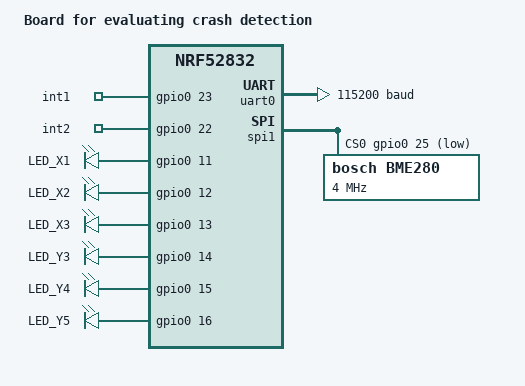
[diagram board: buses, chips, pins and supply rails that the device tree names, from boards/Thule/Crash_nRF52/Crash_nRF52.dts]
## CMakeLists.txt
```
cmake_minimum_required(VERSION 3.20.0)
find_package(Zephyr REQUIRED HINTS $ENV{ZEPHYR_BASE})

project(Crash_detect)

target_sources(app PRIVATE 
  src/main.c
  src/acc.c
  src/spi.c
  src/uart.c
)
```

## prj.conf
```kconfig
CONFIG_GPIO=y
CONFIG_CLOCK_CONTROL_NRF_K32SRC_RC=y
CONFIG_SYSTEM_WORKQUEUE_STACK_SIZE=2048
CONFIG_MAIN_STACK_SIZE=2048
CONFIG_SPI=y
#CONFIG_SPI_NRFX=y
CONFIG_SERIAL=y
CONFIG_UART_ASYNC_API=y
```

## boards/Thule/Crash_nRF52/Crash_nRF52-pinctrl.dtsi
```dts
&pinctrl {
    compatible = "nordic,nrf-pinctrl";
	spi1_default: spi1_default {
		group1 {
			psels = <NRF_PSEL(SPIM_SCK, 0, 27)>,
					<NRF_PSEL(SPIM_MOSI, 0, 26)>,
					<NRF_PSEL(SPIM_MISO, 0, 28)>;
		};
	};
	spi1_sleep: spi1_sleep {
        group1 {
			psels = <NRF_PSEL(SPIM_SCK, 0, 27)>,
					<NRF_PSEL(SPIM_MOSI, 0, 26)>,
					<NRF_PSEL(SPIM_MISO, 0, 28)>;
			low-power-enable;
		};
	};
	uart0_default: uart0_default {
		group1 {
			psels = <NRF_PSEL(UART_RX, 0, 7)>,
					<NRF_PSEL(UART_TX, 0, 6)>;
		};
	};
	uart0_sleep: uart0_sleep {
		group1 {
			psels = <NRF_PSEL(UART_RX, 0, 7)>,
					<NRF_PSEL(UART_TX, 0, 6)>;
			low-power-enable;
		};
	};

};
```

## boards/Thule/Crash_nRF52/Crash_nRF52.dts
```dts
/dts-v1/;
#include <nordic/nrf52832_qfaa.dtsi>
#include "Crash_nRF52-pinctrl.dtsi"

/ {
	model = "Board for evaluating crash detection";
	compatible = "Thule,Crash-nRF52";

	chosen {
		zephyr,sram = &sram0;
		zephyr,flash = &flash0;
		zephyr,code-partition = &slot0_partition;
	};

	digin
	{
		compatible = "gpio-keys";
		digin1: digin_1 {
			gpios = <&gpio0 23 GPIO_PULL_DOWN>;
			label = "int1";
		};
		digin2: digin_2 {
			gpios = <&gpio0 22 GPIO_PULL_DOWN>;
			label = "int2";
		};
	};
	leds 
	{
		compatible = "gpio-leds";
		led0: led_0 {
			gpios = <&gpio0 11 GPIO_ACTIVE_HIGH>;
			label = "LED_X1";
		};
		led1: led_1 {
			gpios = <&gpio0 12 GPIO_ACTIVE_HIGH>;
			label = "LED_X2";
		};
		led2: led_2 {
			gpios = <&gpio0 13 GPIO_ACTIVE_HIGH>;
			label = "LED_X3";
		};
		led3: led_3 {
			gpios = <&gpio0 14 GPIO_ACTIVE_HIGH>;
			label = "LED_Y3";
		};
		led4: led_4 {
			gpios = <&gpio0 15 GPIO_ACTIVE_HIGH>;
			label = "LED_Y4";
		};
		led5: led_5 {
			gpios = <&gpio0 16 GPIO_ACTIVE_HIGH>;
			label = "LED_Y5";
		};
	};
	aliases 
	{
		led0 = &led0;
		led1 = &led1;
		led2 = &led2;
		led3 = &led3;
		led4 = &led4;
		led5 = &led5;
		digin1 = &digin1;
		digin2 = &digin2;
	};

};

&uart0 {
	status = "okay";
	pinctrl-0 = <&uart0_default>;
    pinctrl-1 = <&uart0_sleep>;
	pinctrl-names = "default" , "sleep";
	current-speed = <115200>;
};

&spi1 {
	status = "okay";
	compatible = "nordic,nrf-spi";
	pinctrl-0 = <&spi1_default>;
	pinctrl-1 = <&spi1_sleep>;
	pinctrl-names = "default" , "sleep";
	cs-gpios = <&gpio0 25 GPIO_ACTIVE_LOW>;
	bme280: bme280@0 
	{
		compatible = "bosch,bme280";
		reg = <0>;
		spi-max-frequency = <4000000>; 	
	};
};

&gpiote0 {
	status = "okay";
};


&gpio0 {
	status = "okay";
};

&flash0 {
	partitions {
		compatible = "fixed-partitions";
		#address-cells = <1>;
		#size-cells = <1>;

		boot_partition: partition@0 {
			label = "mcuboot";
			reg = <0x00000000 DT_SIZE_K(48)>;
		};

		slot0_partition: partition@c000 {
			label = "image-0";
			reg = <0x0000c000 DT_SIZE_K(220)>;
		};

		slot1_partition: partition@43000 {
			label = "image-1";
			reg = <0x00043000 DT_SIZE_K(220)>;
		};

		storage_partition: partition@7a000 {
			label = "storage";
			reg = <0x0007a000 DT_SIZE_K(24)>;
		};
	};
};
```

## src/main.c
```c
#include <zephyr/kernel.h>
#include <zephyr/drivers/spi.h>
#include <zephyr/drivers/gpio.h>
#include <zephyr/device.h>
#include <zephyr/devicetree.h>
#include <zephyr/drivers/uart.h>
#include <stdio.h>
#include <stdlib.h>
#include <stdbool.h>
#include "acc_spi.h"
#include "acc.h"
#include "uart.h"

#define LED_NODE_1 DT_ALIAS(led3)
#define LED_NODE_2 DT_ALIAS(led4)
#define LED_NODE_3 DT_ALIAS(led5)
#define LED_NODE_4 DT_ALIAS(led0)
#define LED_NODE_5 DT_ALIAS(led1)
#define LED_NODE_6 DT_ALIAS(led2)
#define INT_1_NODE DT_ALIAS(digin1)
#define INT_2_NODE DT_ALIAS(digin2)

static const struct gpio_dt_spec s_led_1 = GPIO_DT_SPEC_GET(LED_NODE_1, gpios);
static const struct gpio_dt_spec s_led_2 = GPIO_DT_SPEC_GET(LED_NODE_2, gpios);
static const struct gpio_dt_spec s_led_3 = GPIO_DT_SPEC_GET(LED_NODE_3, gpios);
static const struct gpio_dt_spec s_led_4 = GPIO_DT_SPEC_GET(LED_NODE_4, gpios);
static const struct gpio_dt_spec s_led_5 = GPIO_DT_SPEC_GET(LED_NODE_5, gpios);
static const struct gpio_dt_spec s_led_6 = GPIO_DT_SPEC_GET(LED_NODE_6, gpios);
static const struct gpio_dt_spec fifo_overrun_int = GPIO_DT_SPEC_GET(INT_1_NODE, gpios);
static const struct gpio_dt_spec force_int = GPIO_DT_SPEC_GET(INT_2_NODE, gpios);
static struct gpio_callback s_sensor_cb_data;
static struct gpio_callback s_sensor2_cb_data;

static const struct gpio_dt_spec *led_ptrs[] = {
    &s_led_1, &s_led_2, &s_led_3, &s_led_4, &s_led_5, &s_led_6
};

enum accelerometer_state {
  SLEEP_STATE, ACTIVE_STATE, CRASH_STATE
};

volatile bool g_state_changed = false;
volatile bool g_read_fifo = false;
volatile bool g_abort_detection = false;
uint8_t g_old_acc = 0;
uint8_t g_fifo_counter = 0;

enum accelerometer_state g_current_state = SLEEP_STATE;

/* ***** */
static void timer_expiry(struct k_timer *timer);
void start_1min_timer(void);
static void fifo_interrupt(const struct device *dev, struct gpio_callback *cb, uint32_t pins);
static void force_interrupt(const struct device *dev, struct gpio_callback *cb, uint32_t pins);
static void crash_confirmed(void);
static void fifo_drain(void);

/* ***** */

K_TIMER_DEFINE(countdown_timer, timer_expiry, NULL);

static void timer_expiry(struct k_timer *timer)
{
    g_current_state =  SLEEP_STATE;
    g_state_changed = true;
}

void start_1min_timer(void)
{
    k_timer_start(&countdown_timer,
                  K_SECONDS(60),
                  K_NO_WAIT);
}

static void fifo_interrupt(const struct device *dev, struct gpio_callback *cb, uint32_t pins)
{
  g_read_fifo = true;
}

static void force_interrupt(const struct device *dev, struct gpio_callback *cb, uint32_t pins)
{
  if (g_current_state == SLEEP_STATE)
  {
    g_current_state = ACTIVE_STATE;
    g_state_changed = true;
  } 
  else if (g_current_state == ACTIVE_STATE)
  {
    g_current_state = CRASH_STATE;
    g_state_changed = true;
    g_abort_detection = false;
  }
}

static void crash_confirmed(void)
{
  g_abort_detection = true;
  g_fifo_counter = 0;

  for (int i=0;i<10;i++)
  {
    gpio_pin_toggle_dt(led_ptrs[0]);
    gpio_pin_toggle_dt(led_ptrs[1]);
    gpio_pin_toggle_dt(led_ptrs[2]);
    gpio_pin_toggle_dt(led_ptrs[3]);
    gpio_pin_toggle_dt(led_ptrs[4]);
    gpio_pin_toggle_dt(led_ptrs[5]);
    k_msleep(200);
  }
  g_current_state = ACTIVE_STATE;
  g_state_changed = true;
}

static void fifo_drain(void)
{
  int8_t acc = 0;
  while (!(read_acc_reg(0x2f) & 0x20) && !g_abort_detection)
  {
    acc = (int8_t)read_acc_reg(0x29);
    if (g_fifo_counter > 0)
    {
      if ((acc < 0) != (g_old_acc < 0))
      {
        g_abort_detection = true;
        g_fifo_counter = 0;
        set_acc_active_state();
        g_current_state = ACTIVE_STATE;
      }
    }
    if (abs(acc) < 15)
    {
      g_abort_detection = true;
      g_fifo_counter = 0;
      set_acc_active_state();
      g_current_state = ACTIVE_STATE;
    }
    g_old_acc = acc;
    if (!g_abort_detection)
    {  
      g_fifo_counter++;
      if (g_fifo_counter >= 200)
      {
        crash_confirmed();
      }
    }
  }
}


int main(void)
{
  //uart_init();
  gpio_pin_configure_dt(&s_led_1, GPIO_OUTPUT_INACTIVE);
  gpio_pin_configure_dt(&s_led_2, GPIO_OUTPUT_INACTIVE);
  gpio_pin_configure_dt(&s_led_3, GPIO_OUTPUT_INACTIVE);
  gpio_pin_configure_dt(&s_led_4, GPIO_OUTPUT_INACTIVE);
  gpio_pin_configure_dt(&s_led_5, GPIO_OUTPUT_INACTIVE);
  gpio_pin_configure_dt(&s_led_6, GPIO_OUTPUT_INACTIVE);
  gpio_pin_configure_dt(&fifo_overrun_int, GPIO_INPUT);
  gpio_pin_configure_dt(&force_int, GPIO_INPUT);
  gpio_pin_interrupt_configure_dt(&fifo_overrun_int, GPIO_INT_EDGE_RISING);
  gpio_pin_interrupt_configure_dt(&force_int, GPIO_INT_EDGE_RISING);
  gpio_init_callback(&s_sensor_cb_data, fifo_interrupt, (BIT(fifo_overrun_int.pin)));
  gpio_add_callback(fifo_overrun_int.port, &s_sensor_cb_data);
  gpio_init_callback(&s_sensor2_cb_data, force_interrupt, (BIT(force_int.pin)));
  gpio_add_callback(force_int.port, &s_sensor2_cb_data);
  init_spi0();
  k_msleep(1);
  if(read_acc_reg(0x0f) == 0x33)  // Read chip ID to confirm SPI function
  {
    gpio_pin_set_dt(led_ptrs[5],1);
    k_msleep(500);
    gpio_pin_set_dt(led_ptrs[5],0);
  }
  g_current_state = SLEEP_STATE;
  g_state_changed = true;
 
  k_msleep(1);

  while(1)
  {
    while (g_current_state == SLEEP_STATE)
    {
      if (g_state_changed)
      {
        g_state_changed = false;
        read_acc_reg(0x35);
        set_acc_sleep_state();
      }
      k_msleep(1000); // Demonstrate the application in sleep state.
      gpio_pin_toggle_dt(led_ptrs[0]);
    }
    
    if(g_current_state == CRASH_STATE)   // if the fifo has filled to the water mark, read the fifo until empty
    {
      if (g_state_changed)
      {
        g_state_changed = false;
        set_acc_crash_state(); // if a high G event happended, start high speed logging
      }
      fifo_drain();   
    }

    if(g_current_state == ACTIVE_STATE)
    {
      if (g_state_changed)
      {
        g_state_changed = false;
        read_acc_reg(0x35);
        start_1min_timer();
        set_acc_active_state(); 
      }
      k_msleep(300); // Demonstrate the application in sleep state.
      gpio_pin_toggle_dt(led_ptrs[1]);
      // Do normal stuff
    }
  }
  return 0;
}
```

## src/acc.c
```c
#include <zephyr/kernel.h>
#include <zephyr/device.h>
#include <zephyr/devicetree.h>
#include <zephyr/drivers/gpio.h>
#include "acc.h"
#include "acc_spi.h"

int set_acc_sleep_state(void) // Low power setup for wake up on any movement.
{
  int err = 0;
  err = write_acc_spi(CTRL_REG1, (ODR10HZ | 0x0f));	// 10Hz sample rate, all axises enables
  if (err != 0)
  {
    return err;
  }
  err = write_acc_spi(CTRL_REG2, 0x02);	// Enable HP filter for interrupt 2. Cut off freq. = 0.2 Hz
  if (err != 0)
  {
	  return err;
  }
  err = write_acc_spi(CTRL_REG6, (0x20));	// enable interrupt on int2 pin
  if (err != 0)
  {
	  return err;
  }
  err = write_acc_spi(CTRL_REG4, (0x00 | RANGE_2G));	// set range to +-2g
  if (err != 0)
  {
	  return err;
  }
  err = write_acc_spi(CTRL_REG5, (0x02)); // enable latch interrupt. Clear interrupt by reading INT2_SRC
  if (err != 0)
  {
	  return err;
  }
  k_msleep(1);
  err = write_acc_spi(INT2_TH, 0x0f);		// g-force interrupt threshold 0.24g
  if (err != 0)
  {
	  return err;
  }
  err = write_acc_spi(INT2_CFG, 0x2A);	        // Enable interrupt on high acc. on X, Y and Z.
  if (err != 0)
  {
	  return err;
  }
  err = read_acc_reg(REFERENCE);
  if (err != 0)
  {
	  return err;
  }
  return 0;
  
}


/* Active state. Set enough sample rate to detect a crash in time (100HZ)
and enable an interrupt that trigger on a force bigger than <tbd> G */

int set_acc_active_state(void)
{
  int err = 0;
  err = write_acc_spi(CTRL_REG1, (ODR100HZ | 0x09));	// 100Hz sample rate, X axis enabled
  if (err != 0)
  {
  return err;
  }
  k_msleep(1);
  
  err = write_acc_spi(CTRL_REG6, (0x20));	// enable force interrupt on int 2 pin
  if (err != 0)
  {
	return err;
  }
  err = write_acc_spi(CTRL_REG3, (0x00));	// disable interrupts on int 1 pin
  err = write_acc_spi(INT2_CFG, (0x02));	// enable force interrupt on pin 2 for both axises of X.
  if (err != 0)
  {
	return err;
  }
  k_msleep(1);
  err = write_acc_spi(CTRL_REG4, (0x00 | RANGE_8G));	// set range to +-8g for initial "spin test"
  if (err != 0)
  {
	return err;
  }
  err = write_acc_spi(INT2_TH, (0x2F));	// set threshold to 4G.
  if (err != 0)
  {
	return err;
  }
  k_msleep(1);
  err = write_acc_spi(CTRL_REG5, (0x48)); // Fifo enable
  if (err != 0)
  {
	return err;
  }
  k_msleep(1);
  err = write_acc_spi(FIFO_CTRL_REG, 0x80);		// fifo stream mode
  if (err != 0)
  {
  	return err;
  }
  k_msleep(1);    
  read_acc_reg(FIFO_SRC_REG);
  return 0;
}

/* If a crash occur, set a high sample rate (5376 Hz) and enable water mark interrupt 
to make sure to capture all samples */

int set_acc_crash_state(void)
{
  int err = 0;
  err = write_acc_spi(CTRL_REG6, (0x00));	// disable force interrupt on int 2 pin
  if (err != 0)
  {
	return err;
  }
   err = write_acc_spi(CTRL_REG3, (0x04));	// enable water mark interrupt on int 1 pin
  if (err != 0)
  {
	  return err;
  }
  err = write_acc_spi(FIFO_CTRL_REG, 0x8F);		// fifo stream mode and set watermark level to 15 samples
  if (err != 0)
  {
  	return err;
  }
  err = write_acc_spi(CTRL_REG1, (ODR5376HZ | 0x09));	// 5376Hz sample rate, X axis enabled
  if (err != 0)
  {
    return err;
  }
  return 0;
 }
```

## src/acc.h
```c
#ifndef ACC_H
#define ACC_H

#define WHO_AM_I 0x0f
#define CTRL_REG1 0x20
#define CTRL_REG2 0x21
#define CTRL_REG3 0x22
#define CTRL_REG4 0x23
#define CTRL_REG5 0x24
#define CTRL_REG6 0x25
#define STATUS_REG 0x27
#define FIFO_CTRL_REG 0x2e
#define FIFO_SRC_REG 0x2F
#define REFERENCE 0x26
#define X_OUT_L 0x28
#define X_OUT_H 0x29
#define Y_OUT_L 0x2A
#define Y_OUT_H 0x2B
#define Z_OUT_L 0x2C
#define Z_OUT_H 0x2D
#define INT1_DURATION 0x33
#define ODR5376HZ 0x09<<4
#define ODR200HZ 0x06<<4
#define ODR100HZ 0x05<<4
#define ODR50HZ 0x04<<4
#define ODR25HZ 0x03<<4
#define ODR10HZ 0x02<<4
#define ODR1HZ 0x01<<4
#define RANGE_2G 0x00<<4
#define RANGE_4G 0x01<<4
#define RANGE_8G 0x02<<4
#define RANGE_16G 0x03<<4
#define SCALE_2G 0.01575
#define SCALE_4G 0.0315
#define SCALE_8G 0.063
#define SCALE_16G 0.126
#define INT1_EN 1<<6
#define CTRL_REG0 0x1e
#define INT1_CFG 0x30
#define INT2_CFG 0x34
#define INT2_TH 0x36
#define INT1_SRC 0x31
#define INT1_TH 0x32
#define FIFO_EN 1<<7
#define INT1_LATCH 1<<6
#define BITSHIFT 0
#define BIT_RES 8
#define LATCHED_INT1 1<<3
#define FIFO_MODE_CONT 0x02<<6
#define FIFO_MODE_FIFO 0x01<<5
#define FIFO_MODE_CONT_TO_FIFO 0x03<<5

#include <stdint.h>
#include "acc.h"

int set_acc_active_state(void);
int set_acc_crash_state(void);
int set_acc_sleep_state(void);

#endif
```

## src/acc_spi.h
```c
#ifndef ACCSPI_H
#define ACCSPI_H

#include <stdint.h>
#include <stdbool.h>

int8_t read_acc_reg(uint8_t acc_reg);
int read_acc_spi(uint8_t reg, uint8_t *data, uint8_t size);
bool init_spi0();
int write_acc_spi(uint8_t reg, uint8_t value);

#endif 
```

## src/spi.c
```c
#include <stdio.h>
#include <zephyr/kernel.h>
#include <zephyr/device.h>
#include <zephyr/devicetree.h>
#include <zephyr/drivers/gpio.h>
#include <zephyr/drivers/spi.h>
#include "acc_spi.h"

#define SPI1_NODE DT_NODELABEL(spi1)
#define SPIOP	SPI_WORD_SET(8) | SPI_TRANSFER_MSB | SPI_MODE_CPOL | SPI_MODE_CPHA

struct spi_dt_spec spispec = SPI_DT_SPEC_GET(DT_NODELABEL(bme280), SPIOP, 0);

bool init_spi0()
{
  int err = spi_is_ready_dt(&spispec);
  return err;
}

int read_acc_spi(uint8_t reg, uint8_t *data, uint8_t size)
{
  int err;
  uint8_t tx_buffer[1] = {(reg | 0x80)};
  struct spi_buf tx_spi_buf			= {.buf = (void *)&tx_buffer, .len = 1};
  struct spi_buf_set tx_spi_buf_set 	= {.buffers = &tx_spi_buf, .count = 1};
  struct spi_buf rx_spi_bufs 			= {.buf = data, .len = size};
  struct spi_buf_set rx_spi_buf_set	= {.buffers = &rx_spi_bufs, .count = 1};
  err = spi_transceive_dt(&spispec, &tx_spi_buf_set, &rx_spi_buf_set);
  return err;
}

int write_acc_spi(uint8_t reg, uint8_t value)
{
  int err;
  uint8_t tx_values[]={ (reg & 0x7F), value};
  struct spi_buf tx_spi_bufs[] = {
    { .buf = tx_values, .len = sizeof(tx_values) }
  };
  struct spi_buf_set spi_tx_buffer_set = {
    .buffers = tx_spi_bufs,
    .count = 1
  };
  err=spi_write_dt(&spispec, &spi_tx_buffer_set);
  return err;
}

int8_t read_acc_reg(uint8_t acc_reg)
{
  uint8_t rx_buf_ID[2] = {0,0};
  int err = read_acc_spi(acc_reg, rx_buf_ID, 2);
  if (err == 0)
  {
    return rx_buf_ID[1];
  } 
  else
  {
    return err;
  }
}
```

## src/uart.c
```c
#include <zephyr/drivers/uart.h>
#include <zephyr/devicetree.h>
#include <stdio.h>
#include <stdbool.h>
#include <zephyr/kernel.h>
#include "uart.h"


#define RECEIVE_BUFF_SIZE 10
#define RECEIVE_TIMEOUT 100

const struct uart_config uart_cfg = {
		.baudrate = 115200,
		.parity = UART_CFG_PARITY_NONE,
		.stop_bits = UART_CFG_STOP_BITS_1,
		.data_bits = UART_CFG_DATA_BITS_8,
		.flow_ctrl = UART_CFG_FLOW_CTRL_NONE
	};

const struct device *uart = DEVICE_DT_GET(DT_NODELABEL(uart0));
static uint8_t rx_buf[RECEIVE_BUFF_SIZE] = {0};

bool green_led_state = false;
bool red_led_state = false;
bool yellow_led_state = false;
	
static void uart_cb(const struct device *dev, struct uart_event *evt, void *user_data)
{
	switch (evt->type) {

	case UART_RX_RDY:
		if ((evt->data.rx.len) == 1) {
			if (evt->data.rx.buf[evt->data.rx.offset] == '0') {
				red_led_state = !red_led_state;
			} else if (evt->data.rx.buf[evt->data.rx.offset] == '1') {
				green_led_state = !green_led_state;
			} else if (evt->data.rx.buf[evt->data.rx.offset] == '2') {
				yellow_led_state = !yellow_led_state;
			}
		}
		break;
	case UART_RX_DISABLED:
		uart_rx_enable(dev, rx_buf, sizeof rx_buf, RECEIVE_TIMEOUT);
		break;

	default:
		break;
	}
}

void uart_send(uint32_t mom_current)
{
   	static char tx_buf[20];
    int len = snprintf(tx_buf, sizeof(tx_buf), ":%d\r\n", mom_current);
    uart_tx(uart, tx_buf, len, SYS_FOREVER_US);
 	//snprintf(tx_buf, sizeof(tx_buf), "uA:%d\r\n", mom_current);
	//uart_tx(uart, tx_buf, sizeof(tx_buf), SYS_FOREVER_US);
}

void uart_init(void)
{
   uart_configure(uart, &uart_cfg);
   uart_callback_set(uart, uart_cb, NULL);
   uart_rx_enable(uart ,rx_buf,sizeof rx_buf,RECEIVE_TIMEOUT);
}
```

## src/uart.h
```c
#ifndef UART_H
#define UART_H
#include <stdint.h>
#include <stdbool.h>

extern bool green_led_state;
extern bool red_led_state;
extern bool yellow_led_state;

void uart_init(void);
void uart_send(uint32_t);

#endif 
```
